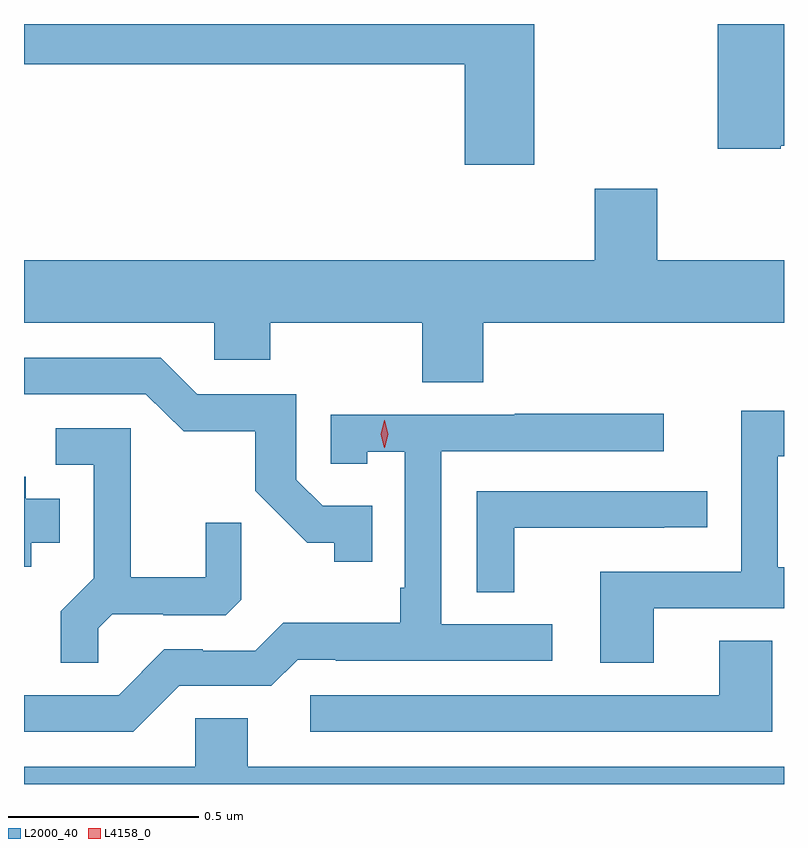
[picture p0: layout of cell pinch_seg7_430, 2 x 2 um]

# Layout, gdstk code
import gdstk
lib = gdstk.Library(unit=1e-6, precision=1e-09)
def P(c, l, *ps):  # polygons
    for p in ps: c.add(gdstk.Polygon(p, *l))
L2000_40 = (2000, 40)
L4158_0 = (4158, 0)

pinch_seg7_430 = lib.new_cell('pinch_seg7_430')
P(pinch_seg7_430, L2000_40, [(537.126,1003.746),(537.134,1003.746),(537.134,1004.066),(536.96,1004.066),(536.96,1003.738),(537.126,1003.738)],
  [(536.477,1004.066),(535.134,1004.066),(535.134,1003.96),(536.294,1003.96),(536.294,1003.695),(536.477,1003.695)],
  [(536.342,1003.28),(537.134,1003.28),(537.134,1003.444),(536.8,1003.444),(536.8,1003.633),(536.636,1003.633),(536.636,1003.444),(535.134,1003.444),(535.134,1003.28),(535.635,1003.28),(535.635,1003.182),(535.782,1003.182),(535.782,1003.28),(536.182,1003.28),(536.182,1003.123),(536.342,1003.123)],
  [(536.051,1002.798),(535.92,1002.798),(535.851,1002.867),(535.851,1003.092),(535.59,1003.092),(535.494,1003.188),(535.134,1003.188),(535.134,1003.092),(535.455,1003.092),(535.554,1002.994),(535.743,1002.994),(535.743,1002.838),(535.88,1002.701),(535.95,1002.701),(535.95,1002.651),(536.051,1002.651)],
  [(536.791,1002.528),(537.134,1002.528),(537.134,1002.637),(537.118,1002.637),(537.118,1002.928),(537.134,1002.928),(537.134,1003.048),(537.021,1003.048),(537.021,1002.624),(536.651,1002.624),(536.651,1002.385),(536.791,1002.385)],
  [(535.542,1002.324),(535.785,1002.324),(535.854,1002.393),(535.954,1002.393),(535.954,1002.39),(536.524,1002.39),(536.524,1002.486),(536.232,1002.486),(536.232,1002.942),(536.818,1002.942),(536.818,1003.041),(536.425,1003.041),(536.425,1003.038),(535.941,1003.038),(535.941,1002.909),(536.037,1002.909),(536.037,1002.941),(536.136,1002.941),(536.136,1002.583),(536.124,1002.583),(536.124,1002.49),(535.816,1002.49),(535.743,1002.417),(535.604,1002.417),(535.604,1002.42),(535.503,1002.42),(535.383,1002.3),(535.134,1002.3),(535.134,1002.204),(535.422,1002.204)],
  [(535.329,1002.476),(535.366,1002.513),(535.5,1002.513),(535.5,1002.51),(535.665,1002.51),(535.706,1002.551),(535.706,1002.753),(535.612,1002.753),(535.612,1002.61),(535.415,1002.61),(535.415,1003.002),(535.218,1003.002),(535.218,1002.906),(535.317,1002.906),(535.317,1002.607),(535.231,1002.521),(535.231,1002.385),(535.329,1002.385)],
  [(535.153,1002.701),(535.228,1002.701),(535.228,1002.817),(535.138,1002.817),(535.138,1002.874),(535.134,1002.874),(535.134,1002.638),(535.153,1002.638)],
  [(536.424,1002.741),(536.819,1002.741),(536.819,1002.742),(536.932,1002.742),(536.932,1002.837),(536.325,1002.837),(536.325,1002.571),(536.424,1002.571)],
  [(537.103,1002.443),(536.963,1002.443),(536.963,1002.3),(535.887,1002.3),(535.887,1002.204),(537.103,1002.204)],
  [(535.584,1002.239),(535.584,1002.112),(535.134,1002.112),(535.134,1002.066),(537.134,1002.066),(537.134,1002.112),(535.723,1002.112),(535.723,1002.239)])
P(pinch_seg7_430, L4158_0, [(536.082,1002.951),(536.073,1002.987),(536.082,1003.023),(536.083,1003.023),(536.083,1003.023),(536.093,1002.987),(536.083,1002.951),(536.083,1002.951)])

lib.write_gds('pinch_seg7_430.gds')
